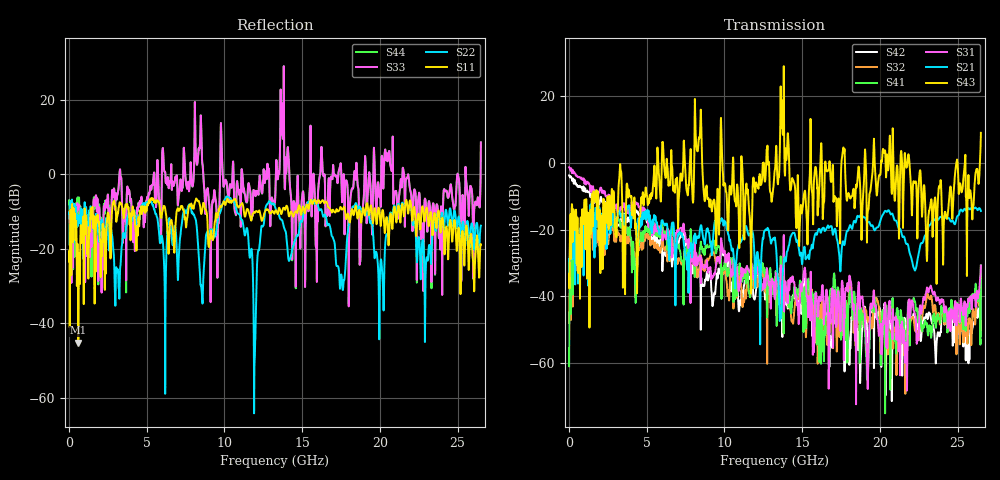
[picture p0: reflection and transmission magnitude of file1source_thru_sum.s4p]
!Keysight Technologies,N5222B,MY56022661,A.17.60.13
!Date: Sunday, September 29, 2024 10:35:28
!Correction: S11(C  4-Port  )
!S12(C  4-Port  )
!S13(C  4-Port  )
!S14(C  4-Port  )
!S21(C  4-Port  )
!S22(C  4-Port  )
!S23(C  4-Port  )
!S24(C  4-Port  )
!S31(C  4-Port  )
!S32(C  4-Port  )
!S33(C  4-Port  )
!S34(C  4-Port  )
!S41(C  4-Port  )
!S42(C  4-Port  )
!S43(C  4-Port  )
!S44(C  4-Port  )
!S4P File: Measurements: <S11,S12,S13,S14>,
!<S21,S22,S23,S24>,
!<S31,S32,S33,S34>,
!<S41,S42,S43,S44>:
! Created with skrf (http://scikit-rf.org).
# Hz S RI R 50.0
!freq ReS11 ImS11 ReS12 ImS12 ReS13 ImS13
! ReS14 ImS14
! ReS21 ImS21 ReS22 ImS22 ReS23 ImS23
! ReS24 ImS24
! ReS31 ImS31 ReS32 ImS32 ReS33 ImS33
! ReS34 ImS34
! ReS41 ImS41 ReS42 ImS42 ReS43 ImS43
! ReS44 ImS44
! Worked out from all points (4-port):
!   2650 points, 10 MHz to 26.5 GHz, reference 50 ohm
!   strongest paths, dB at 10 MHz, 6.63 GHz, 13.26 GHz, 19.88 GHz, 26.5 GHz:
!     S43: -33.2, -1.2, -1.8, -6.2, 8.9
!     S21: -33.9, -18.0, -22.8, -19.3, -14.4
!     S31: -1.4, -27.6, -40.6, -48.4, -30.9
!     S41: -60.9, -18.8, -34.7, -46.8, -31.2
!     S32: -48.0, -22.4, -36.5, -41.7, -33.3
!     S42: -3.8, -31.0, -38.7, -45.7, -30.7
!   lowest |S11| = -45.2 dB at 600 MHz (marker M1), VSWR 1.01, Z = 50.5 + j0.214 ohm
!   |S11| at or under -10 dB: 1.529 GHz to 2.77 GHz (1.24 GHz wide, 57.7 % of centre); 8.84 GHz to 9.62 GHz (780.6 MHz wide, 8.46 % of centre); 23.79 GHz to end of sweep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
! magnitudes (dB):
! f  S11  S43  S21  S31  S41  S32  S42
! 10 MHz  -23.4  -33.2  -33.9  -1.4  -60.9  -48.0  -3.8
! 600 MHz  -45.2  -33.0  -36.0  -4.2  -26.0  -29.2  -7.0
! 10.28 GHz  -7.5  -15.3  -21.8  -27.3  -32.1  -39.5  -29.8
! 11.96 GHz  -10.4  -7.8  -32.4  -34.0  -30.3  -35.9  -40.6
! 13.71 GHz  -10.1  18.7  -38.0  -35.6  -36.0  -32.6  -38.2
! 19.2 GHz  -8.0  -16.2  -17.8  -64.9  -63.9  -46.7  -53.4
! 26.5 GHz  -18.9  8.9  -14.4  -30.9  -31.2  -33.3  -30.7
